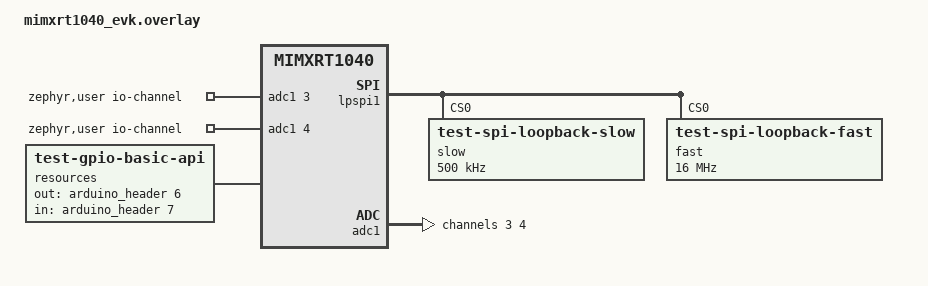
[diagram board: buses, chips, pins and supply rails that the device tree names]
/*
 * Copyright 2023 NXP
 *
 * SPDX-License-Identifier: Apache-2.0
 */

&lpspi1 {
	slow@0 {
		compatible = "test-spi-loopback-slow";
		reg = <0>;
		spi-max-frequency = <500000>;
	};

	fast@0 {
		compatible = "test-spi-loopback-fast";
		reg = <0>;
		spi-max-frequency = <16000000>;
	};

	transfer-delay = <100>;
	pcs-sck-delay = <100>;
	sck-pcs-delay = <100>;
};

/ {
	zephyr,user {
		io-channels = <&adc1 3>, <&adc1 4>;
	};
};

&adc1 {
	#address-cells = <1>;
	#size-cells = <0>;
	channel@3 {
		reg = <3>;
		zephyr,gain = "ADC_GAIN_1";
		zephyr,reference = "ADC_REF_INTERNAL";
		zephyr,acquisition-time = <ADC_ACQ_TIME_DEFAULT>;
		zephyr,resolution = <12>;
	};
	channel@4 {
		reg = <4>;
		zephyr,gain = "ADC_GAIN_1";
		zephyr,reference = "ADC_REF_INTERNAL";
		zephyr,acquisition-time = <ADC_ACQ_TIME_DEFAULT>;
		zephyr,resolution = <12>;
	};
};

/ {
	resources {
		compatible = "test-gpio-basic-api";
		status = "okay";
		out-gpios = <&arduino_header 6 (GPIO_ACTIVE_HIGH | GPIO_PUSH_PULL | GPIO_PULL_UP)>;
		in-gpios = <&arduino_header 7 (GPIO_ACTIVE_HIGH | GPIO_PUSH_PULL | GPIO_PULL_UP)>;
	};
};
